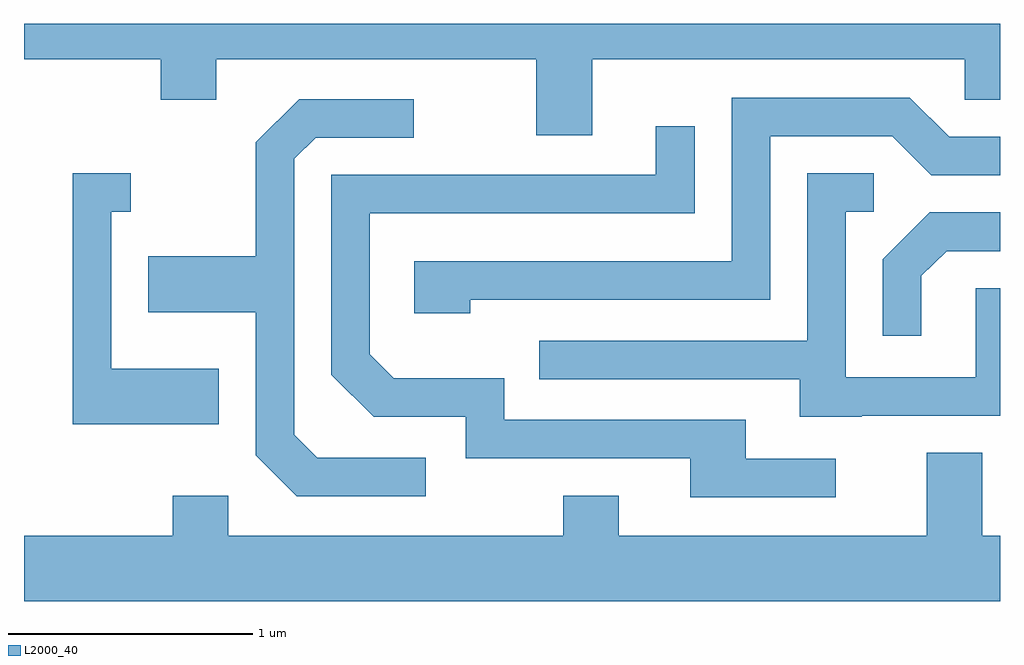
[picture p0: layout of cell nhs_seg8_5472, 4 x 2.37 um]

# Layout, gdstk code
import gdstk
lib = gdstk.Library(unit=1e-6, precision=1e-09)
def P(c, l, *ps):  # polygons
    for p in ps: c.add(gdstk.Polygon(p, *l))
L2000_40 = (2000, 40)

nhs_seg8_5472 = lib.new_cell('nhs_seg8_5472')
P(nhs_seg8_5472, L2000_40, [(351.939,1834.196),(353.466,1834.196),(353.466,1834.031),(353.611,1834.031),(353.611,1834.342),(349.611,1834.342),(349.611,1834.196),(350.171,1834.196),(350.171,1834.031),(350.399,1834.031),(350.399,1834.196),(351.711,1834.196),(351.711,1833.886),(351.939,1833.886)],
  [(351.439,1833.211),(352.669,1833.211),(352.669,1833.881),(353.169,1833.881),(353.329,1833.721),(353.611,1833.721),(353.611,1833.879),(353.402,1833.879),(353.242,1834.039),(352.511,1834.039),(352.511,1833.369),(351.211,1833.369),(351.211,1833.156),(351.439,1833.156)],
  [(351.258,1832.564),(350.812,1832.564),(350.719,1832.657),(350.719,1833.789),(350.807,1833.876),(351.208,1833.876),(351.208,1834.034),(350.739,1834.034),(350.561,1833.857),(350.561,1833.389),(350.121,1833.389),(350.121,1833.161),(350.561,1833.161),(350.561,1832.574),(350.729,1832.406),(351.258,1832.406)],
  [(352.938,1832.559),(352.569,1832.559),(352.569,1832.719),(351.579,1832.719),(351.579,1832.889),(351.127,1832.889),(351.029,1832.987),(351.029,1833.566),(352.359,1833.566),(352.359,1833.923),(352.201,1833.923),(352.201,1833.724),(350.871,1833.724),(350.871,1832.904),(351.044,1832.731),(351.421,1832.731),(351.421,1832.561),(352.341,1832.561),(352.341,1832.401),(352.938,1832.401)],
  [(353.045,1832.736),(353.611,1832.736),(353.611,1833.259),(353.511,1833.259),(353.511,1832.894),(352.979,1832.894),(352.979,1833.571),(353.093,1833.571),(353.093,1833.729),(352.821,1833.729),(352.821,1833.044),(351.723,1833.044),(351.723,1832.886),(352.791,1832.886),(352.791,1832.731),(353.045,1832.731)],
  [(350.409,1832.929),(349.969,1832.929),(349.969,1833.571),(350.048,1833.571),(350.048,1833.729),(349.811,1833.729),(349.811,1832.701),(350.409,1832.701)],
  [(353.289,1833.309),(353.392,1833.411),(353.611,1833.411),(353.611,1833.569),(353.324,1833.569),(353.131,1833.377),(353.131,1833.063),(353.289,1833.063)],
  [(353.611,1832.244),(353.539,1832.244),(353.539,1832.584),(353.311,1832.584),(353.311,1832.244),(352.049,1832.244),(352.049,1832.409),(351.821,1832.409),(351.821,1832.244),(350.449,1832.244),(350.449,1832.409),(350.221,1832.409),(350.221,1832.244),(349.611,1832.244),(349.611,1831.976),(353.611,1831.976)])

lib.write_gds('nhs_seg8_5472.gds')
